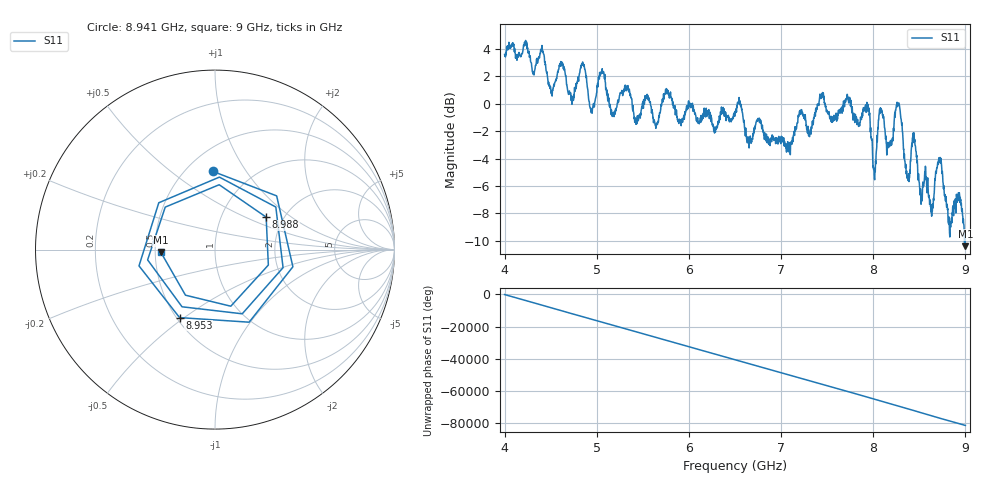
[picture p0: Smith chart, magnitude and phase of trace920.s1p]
! Created with skrf 1.8.0 (http://scikit-rf.org).
# Hz S RI R 50.0
!freq ReS11 ImS11
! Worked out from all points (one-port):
!   1601 points, 4 GHz to 9 GHz, reference 50 ohm
!   lowest |S11| = -10.4 dB at 9 GHz (marker M1), VSWR 1.87, Z = 26.8 - j0.832 ohm
!   |S11| at or under -10 dB: 8.990253 GHz to 8.992152 GHz (1.899 MHz wide, 0.0211 % of centre); 8.995327 GHz to end of sweep
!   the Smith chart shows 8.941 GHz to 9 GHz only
!   S11 on the Smith chart (normalised r, x): 8.941 GHz: 0.66, +0.72; 8.953 GHz: 0.52, -0.48; 8.988 GHz: 1.63, +0.67; 9 GHz: 0.54, -0.02
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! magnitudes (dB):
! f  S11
! 4 GHz  3.6
! 4.406 GHz  4.3
! 4.506 GHz  0.9
! 4.625 GHz  3.0
! 4.731 GHz  0.0
! 4.853 GHz  2.9
! 4.947 GHz  -0.5
! 5.056 GHz  2.3
! 5.175 GHz  -0.8
! 5.25 GHz  0.6
! 5.875 GHz  -1.2
! 6.5 GHz  -0.6
! 7.125 GHz  -2.5
! 7.75 GHz  0.4
! 7.941 GHz  0.0
! 8.012 GHz  -5.5
! 8.081 GHz  -0.5
! 8.172 GHz  -2.9
! 8.272 GHz  -0.1
! 8.375 GHz  -5.5
! 8.441 GHz  -2.1
! 8.625 GHz  -7.4
! 8.716 GHz  -4.2
! 8.828 GHz  -9.4
! 8.941 GHz  -7.2
! 8.953 GHz  -7.4
! 8.988 GHz  -9.4
! 9 GHz  -10.4
